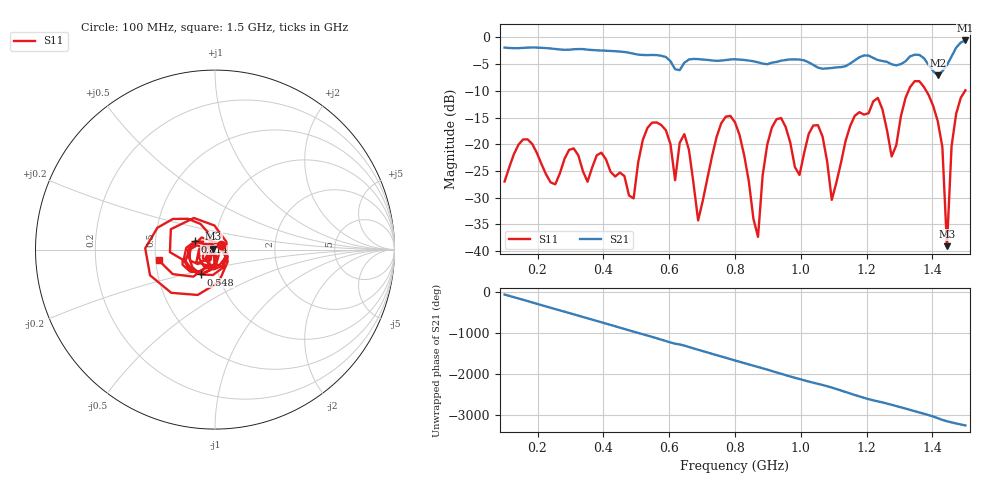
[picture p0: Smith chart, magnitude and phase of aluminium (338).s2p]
! NanoVNA-App
! Date: 2025-09-25 14:57:54
! Start: 100MHz Stop: 1,5GHz Points: 101
! S-Parameter data: F S11 S21 S12 S22
# Hz S RI R 50
!  Frequency  S11_Real  S11_Imag  S21_Real  S21_Imag  S12_Real  S12_Imag  S22_Real  S22_Imag
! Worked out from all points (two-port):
!   101 points, 100 MHz to 1.5 GHz, reference 50 ohm
!   highest |S21| = -0.58 dB at 1.5 GHz (marker M1); lowest = -7.1 dB at 1.416 GHz (marker M2)
!   |S21| within 3 dB of the highest: start of sweep to 584.1 MHz; 1.458 GHz to end of sweep (the widest 2 of 4)
!   lowest |S11| = -39.1 dB at 1.444 GHz (marker M3), VSWR 1.02, Z = 49 + j0.541 ohm
!   |S11| at or under -10 dB: start of sweep to 1.327 GHz; 1.381 GHz to 1.499 GHz (118.2 MHz wide, 8.21 % of centre)
!   S12 and S22 are empty: the file has one direction only
!   S11 on the Smith chart (normalised r, x): 100 MHz: 1.07, +0.06; 548 MHz: 0.82, -0.23; 814 MHz: 0.79, +0.07; 1.5 GHz: 0.52, -0.07
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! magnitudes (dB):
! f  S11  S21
! 100 MHz  -27.0  -1.9
! 338 MHz  -25.1  -2.2
! 492 MHz  -30.1  -3.1
! 548 MHz  -16.0  -3.3
! 576 MHz  -16.4  -3.4
! 618 MHz  -26.7  -6.0
! 646 MHz  -18.1  -4.8
! 688 MHz  -34.2  -4.1
! 800 MHz  -15.9  -4.1
! 814 MHz  -18.3  -4.2
! 870 MHz  -37.3  -4.7
! 912 MHz  -16.9  -4.7
! 996 MHz  -25.7  -4.2
! 1.038 GHz  -16.5  -5.2
! 1.094 GHz  -30.4  -5.7
! 1.234 GHz  -11.3  -4.2
! 1.276 GHz  -22.3  -5.0
! 1.346 GHz  -8.2  -3.2
! 1.416 GHz  -15.7  -7.1
! 1.444 GHz  -39.1  -5.2
! 1.458 GHz  -20.4  -3.6
! 1.5 GHz  -9.9  -0.6
